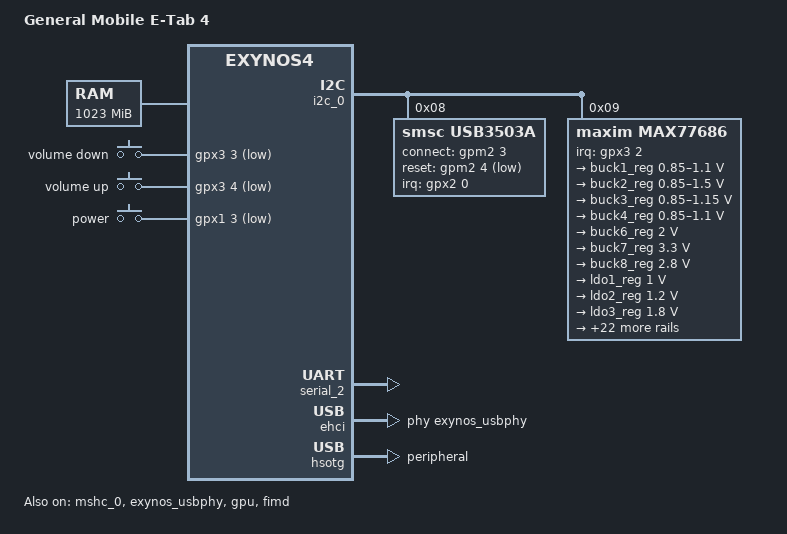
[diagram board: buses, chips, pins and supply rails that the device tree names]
// SPDX-License-Identifier: (GPL-2.0+ OR BSD-3-Clause)
/*
 * Copyright (c) 2026 V6lhost <v6lhost@proton.me>
 */

/dts-v1/;

#include "exynos4412.dtsi"
#include <dt-bindings/clock/maxim,max77686.h>
#include <dt-bindings/gpio/gpio.h>
#include <dt-bindings/input/linux-event-codes.h>

/ {
    model = "General Mobile E-Tab 4";
    compatible = "gm,mehmet", "samsung,exynos4412", "samsung,exynos4";
    chassis-type = "tablet";

    chosen {
        bootargs = "earlycon=exynos4210,0x13820000,115200 console=tty0,115200n8 clk_ignore_unused pd_ignore_unused regulator_ignore_unused";
        stdout-path = "serial_2:115200n8";
    };

	firmware@204f000 {
		compatible = "samsung,secure-firmware";
		reg = <0x0204f000 0x1000>;
	};

	fixed-rate-clocks {
		xxti {
			compatible = "samsung,clock-xxti";
			clock-frequency = <0>;
		};

		xusbxti {
			compatible = "samsung,clock-xusbxti";
			clock-frequency = <24000000>;
		};
	};

	memory@40000000 {
		device_type = "memory";
		reg = <0x40000000 0x3FF00000>;
	};

	gpio-keys {
		compatible = "gpio-keys";
		pinctrl-names = "default";
		pinctrl-0 = <&gpio_keys>;

		key-down {
			gpios = <&gpx3 3 GPIO_ACTIVE_LOW>;
			linux,code = <KEY_VOLUMEDOWN>;
			label = "volume down";
			debounce-interval = <10>;
		};

		key-up {
			gpios = <&gpx3 4 GPIO_ACTIVE_LOW>;
			linux,code = <KEY_VOLUMEUP>;
			label = "volume up";
			debounce-interval = <10>;
		};

		key-power {
			gpios = <&gpx1 3 GPIO_ACTIVE_LOW>;
			linux,code = <KEY_POWER>;
			label = "power";
			debounce-interval = <10>;
			wakeup-source;
		};
	};

	/* LCD */
	//#define GPIO_LCD_OFF_CHG		EXYNOS4212_GPM0(3)
	//#define GPIO_nLVDS_PDN			EXYNOS4212_GPM1(0)
	//#define GPIO_LCD_BL_PWM			EXYNOS4_GPD0(1)
	// panel {
	// 	compatible = "samsung,ltn101al03";
	// 	pinctrl-0 = <&lvds_nshdn>;
	// 	pinctrl-names = "default";
	// 	power-supply = <&panel_vdd>;
	// 	enable-gpios = <&gpm0 5 GPIO_ACTIVE_HIGH>;
	// 	backlight = <&backlight>;
 //
	// 	port {
	// 		lcd_ep: endpoint {
	// 			remote-endpoint = <&fimd_ep>;
	// 		};
	// 	};
	// };
 //
	// backlight: backlight {
	// 	compatible = "pwm-backlight";
	// 	pinctrl-0 = <&led_bl_reset>;
	// 	pinctrl-names = "default";
	// 	enable-gpios = <&gpd0 1 GPIO_ACTIVE_HIGH>;
	// 	power-supply = <&panel_vdd>;
	// 	pwms = <&pwm 1 78770 0>;
	// 	brightness-levels = <0 48 128 255>;
	// 	num-interpolated-steps = <8>;
	// 	default-brightness-level = <12>;
	// };
};

&i2c_0 {
	samsung,i2c-sda-delay = <100>;
	samsung,i2c-slave-addr = <0x10>;
	samsung,i2c-max-bus-freq = <400000>;
	pinctrl-0 = <&i2c0_bus>;
	pinctrl-names = "default";
	status = "okay";

	usb3503a: usb-hub@8 {
		compatible = "smsc,usb3503a";
		reg = <0x08>;

		clock-names = "refclk";
		clocks = <&pmu_system_controller 0>;
		refclk-frequency = <24000000>;

		interrupt-parent = <&gpx2>;
    	interrupts = <0 IRQ_TYPE_LEVEL_LOW>;
		connect-gpios = <&gpm2 3 GPIO_ACTIVE_HIGH>;
		reset-gpios = <&gpm2 4 GPIO_ACTIVE_LOW>;
		initial-mode = <1>;
		pinctrl-names = "default";
		pinctrl-0 = <&hsic_reset>;
	};

	max77686: pmic@9 {
		compatible = "maxim,max77686";
		reg = <0x09>;
		interrupt-parent = <&gpx3>;
		interrupts = <2 IRQ_TYPE_LEVEL_LOW>;
		pinctrl-names = "default";
		pinctrl-0 = <&max77686_irq>;
		wakeup-source;
		#clock-cells = <1>;

		voltage-regulators {
			buck1_reg: BUCK1 {
				regulator-name = "VDD_MIF";
				regulator-min-microvolt = <850000>;
				regulator-max-microvolt = <1100000>;
				regulator-always-on;
				regulator-boot-on;
			};

			buck2_reg: BUCK2 {
				regulator-name = "VDD_ARM";
				regulator-min-microvolt = <850000>;
				regulator-max-microvolt = <1500000>;
				regulator-always-on;
				regulator-boot-on;
			};

			buck3_reg: BUCK3 {
				regulator-name = "VDD_INT";
				regulator-min-microvolt = <850000>;
				regulator-max-microvolt = <1150000>;
				regulator-always-on;
				regulator-boot-on;
			};

			buck4_reg: BUCK4 {
				regulator-name = "VDD_G3D";
				regulator-min-microvolt = <850000>;
				regulator-max-microvolt = <1100000>;
				regulator-boot-on;
			};

			buck6_reg: BUCK6 {
				regulator-name = "VDD_BUCK6";
				regulator-min-microvolt = <2000000>;
				regulator-max-microvolt = <2000000>;
				regulator-boot-on;
			};

			buck7_reg: BUCK7 {
				regulator-name = "VDD_IN235";
				regulator-min-microvolt = <3300000>;
				regulator-max-microvolt = <3300000>;
				regulator-boot-on;
			};

			buck8_reg: BUCK8 {
				regulator-name = "VDD_EMMC_2V8";
				regulator-min-microvolt = <2800000>;
				regulator-max-microvolt = <2800000>;
				regulator-boot-on;
			};

			ldo1_reg: LDO1 {
				regulator-name = "VDD_ALIVE";
				regulator-min-microvolt = <1000000>;
				regulator-max-microvolt = <1000000>;
				regulator-always-on;
				regulator-boot-on;
			};

			ldo2_reg: LDO2 {
				regulator-name = "VDD_M12";
				regulator-min-microvolt = <1200000>;
				regulator-max-microvolt = <1200000>;
				regulator-boot-on;
			};

			ldo3_reg: LDO3 {
				regulator-name = "VDD_BT_WIFI_IO";
				regulator-min-microvolt = <1800000>;
				regulator-max-microvolt = <1800000>;
				regulator-always-on;
				regulator-boot-on;
			};

			ldo4_reg: LDO4 {
				regulator-name = "VDD_MMC012";
				regulator-min-microvolt = <1200000>;
				regulator-max-microvolt = <2800000>;
				regulator-boot-on;
			};

			ldo5_reg: LDO5 {
				regulator-name = "VDD_CAM_IO";
				regulator-min-microvolt = <1800000>;
				regulator-max-microvolt = <1900000>;
			};

			ldo6_reg: LDO6 {
				regulator-name = "VDD_TSP_1V8";
				regulator-min-microvolt = <1800000>;
				regulator-max-microvolt = <1800000>;
			};

			ldo7_reg: LDO7 {
				regulator-name = "VDD_PLL";
				regulator-min-microvolt = <1100000>;
				regulator-max-microvolt = <1100000>;
				regulator-boot-on;
			};

			ldo8_reg: LDO8 {
				regulator-name = "VDD_MIPI_1V0";
				regulator-min-microvolt = <1000000>;
				regulator-max-microvolt = <1000000>;
				regulator-boot-on;
			};

			ldo9_reg: LDO9 {
				regulator-name = "VDD_GPS_1V8";
				regulator-min-microvolt = <1800000>;
				regulator-max-microvolt = <1800000>;
			};

			ldo10_reg: LDO10 {
				regulator-name = "VDD_MIPI_1V8";
				regulator-min-microvolt = <1800000>;
				regulator-max-microvolt = <1800000>;
				regulator-boot-on;
			};

			ldo11_reg: LDO11 {
				regulator-name = "VDD_ABB_1V8";
				regulator-min-microvolt = <1950000>;
				regulator-max-microvolt = <1950000>;
				regulator-boot-on;
			};

			ldo12_reg: LDO12 {
				regulator-name = "VDD_UOTG_3V3";
				regulator-min-microvolt = <3300000>;
				regulator-max-microvolt = <3300000>;
				regulator-boot-on;
			};

			ldo13_reg: LDO13 {
				regulator-name = "VDD_C2C";
				regulator-min-microvolt = <1800000>;
				regulator-max-microvolt = <1800000>;
				regulator-boot-on;
			};

			ldo14_reg: LDO14 {
				regulator-name = "VDD_MMC01_1V8";
				regulator-min-microvolt = <1800000>;
				regulator-max-microvolt = <1800000>;
				regulator-boot-on;
			};

			ldo15_reg: LDO15 {
				regulator-name = "VDD_UOTG_1V0";
				regulator-min-microvolt = <1000000>;
				regulator-max-microvolt = <1000000>;
				regulator-boot-on;
			};

			ldo16_reg: LDO16 {
				regulator-name = "VDD_HSIC";
				regulator-min-microvolt = <1800000>;
				regulator-max-microvolt = <1800000>;
				regulator-boot-on;
			};

			ldo17_reg: LDO17 {
				regulator-name = "VDD_CAM";
				regulator-min-microvolt = <2800000>;
				regulator-max-microvolt = <2900000>;
			};

			ldo18_reg: LDO18 {
				regulator-name = "VDD_GPS_2V8";
				regulator-min-microvolt = <2800000>;
				regulator-max-microvolt = <2800000>;
			};

			ldo20_reg: LDO20 {
				regulator-name = "VDD_MMC_1V8";
				regulator-min-microvolt = <1800000>;
				regulator-max-microvolt = <1800000>;
				regulator-boot-on;
			};

			ldo21_reg: LDO21 {
				regulator-name = "VDD_CAM_CORE";
				regulator-min-microvolt = <1800000>;
				regulator-max-microvolt = <1900000>;
			};

			ldo22_reg: LDO22 {
				regulator-name = "VDD_BT_WIFI";
				regulator-min-microvolt = <3300000>;
				regulator-max-microvolt = <3300000>;
				regulator-always-on;
				regulator-boot-on;
			};

			ldo23_reg: LDO23 {
				regulator-name = "VDD_LCD";
				regulator-min-microvolt = <3300000>;
				regulator-max-microvolt = <3300000>;
				regulator-boot-on;
			};

			ldo24_reg: LDO24 {
				regulator-name = "VDD_SENSOR";
				regulator-min-microvolt = <3000000>;
				regulator-max-microvolt = <3000000>;
				regulator-boot-on;
			};

			ldo25_reg: LDO25 {
				regulator-name = "VDD_AUDIO";
				regulator-min-microvolt = <3300000>;
				regulator-max-microvolt = <3300000>;
				regulator-boot-on;
			};

			ldo26_reg: LDO26 {
				regulator-name = "VDD_TSP";
				regulator-min-microvolt = <3000000>;
				regulator-max-microvolt = <3300000>;
			};
		};
	};
};

&i2c_3 {
	samsung,i2c-sda-delay = <100>;
	samsung,i2c-slave-addr = <0x10>;
	samsung,i2c-max-bus-freq = <400000>;
	pinctrl-0 = <&i2c3_bus>;
	pinctrl-names = "default";
	// disabled for now
	status = "disabled";

		fuel-gauge@36 {
			compatible = "maxim,max17040";
			reg = <0x36>;
			pinctrl-0 = <&fuel_alert_irq>;
			pinctrl-names = "default";
			interrupt-parent = <&gpx2>;
			interrupts = <3 IRQ_TYPE_LEVEL_LOW>;
			maxim,rsns-microohm = <10000>;
			maxim,over-heat-temp = <600>;
			maxim,over-volt = <4300>;
		};
};

&mshc_0 {
	broken-cd;
	non-removable;
	card-detect-delay = <200>;
	vmmc-supply = <&buck8_reg>;
	vqmmc-supply = <&ldo20_reg>;
	clock-frequency = <400000000>;
	samsung,dw-mshc-ciu-div = <0>;
	samsung,dw-mshc-sdr-timing = <2 3>;
	samsung,dw-mshc-ddr-timing = <1 2>;
	mmc-ddr-1_8v;
	pinctrl-0 = <&sd4_clk &sd4_cmd &sd4_bus4 &sd4_bus8>;
	pinctrl-names = "default";
	status = "okay";
	bus-width = <8>;
	cap-mmc-highspeed;
};

&pinctrl_1 {
    pinctrl-names = "default";

	max77686_irq: max77686-irq-pins {
		samsung,pins = "gpx3-2";
		samsung,pin-pud = <EXYNOS_PIN_PULL_NONE>;
	};

	fuel_alert_irq: fuel-alert-irq-pins {
		samsung,pins = "gpx2-3";
		samsung,pin-function = <EXYNOS_PIN_FUNC_INPUT>;
		samsung,pin-pud = <EXYNOS_PIN_PULL_NONE>;
	};

	hsic_reset: hsic-reset-pins {
		samsung,pins = "gpm2-4";
		samsung,pin-function = <EXYNOS_PIN_FUNC_INPUT>;
		samsung,pin-pud = <EXYNOS_PIN_PULL_NONE>;
		samsung,pin-drv = <EXYNOS4_PIN_DRV_LV4>;
	};

	lvds_nshdn: lvds-nshdn-pins {
		samsung,pins = "gpm1-0";
		samsung,pin-function = <EXYNOS_PIN_FUNC_OUTPUT>;
		samsung,pin-pud = <EXYNOS_PIN_PULL_NONE>;
	};
	gpio_keys: gpio-keys-pins {
		samsung,pins = "gpx1-3", "gpx3-4", "gpx3-3";
		samsung,pin-pud = <EXYNOS_PIN_PULL_NONE>;
	};

};

&serial_2 {
    status = "okay";
};

&ehci {
	phys = <&exynos_usbphy 2>, <&exynos_usbphy 3>;
	phy-names = "hsic0", "hsic1";
	status = "okay";
};

&exynos_usbphy {
	status = "okay";
};

&gpu {
	mali-supply = <&buck4_reg>;
	status = "okay";
};

&fimd {
	pinctrl-0 = <&lcd_clk &lcd_data24 &pwm1_out>;
	pinctrl-names = "default";
	status = "okay";

	display-timings {
		timing0 {
			clock-frequency = <68935680>;
			hactive = <1280>;
			vactive = <800>;
			hfront-porch = <18>;
			hback-porch = <36>;
			hsync-len = <16>;
			vback-porch = <16>;
			vfront-porch = <4>;
			vsync-len = <3>;
			hsync-active = <1>;
		};
	};
};

&hsotg {
	vusb_d-supply = <&ldo15_reg>;
	vusb_a-supply = <&ldo12_reg>;
	dr_mode = "peripheral";
	status = "okay";
};
